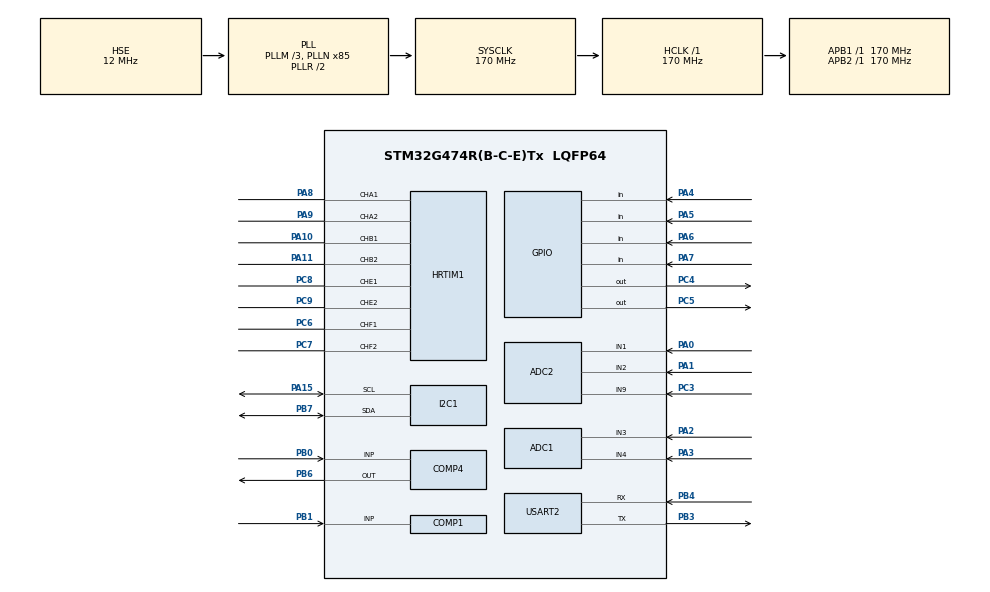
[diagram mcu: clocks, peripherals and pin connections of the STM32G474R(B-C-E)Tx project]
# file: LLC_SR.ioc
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ADC1.Channel-0\#ChannelRegularConversion=ADC_CHANNEL_3
ADC1.NbrOfConversionFlag=1
ADC1.OffsetNumber-0\#ChannelRegularConversion=ADC_OFFSET_NONE
ADC1.Rank-0\#ChannelRegularConversion=1
ADC1.SamplingTime-0\#ChannelRegularConversion=ADC_SAMPLETIME_2CYCLES_5
ADC1.master=1
ADC2.Channel-0\#ChannelRegularConversion=ADC_CHANNEL_1
ADC2.Channel-1\#ChannelRegularConversion=ADC_CHANNEL_2
ADC2.Channel-2\#ChannelRegularConversion=ADC_CHANNEL_9
ADC2.ContinuousConvMode=ENABLE
ADC2.DMAContinuousRequests=ENABLE
ADC2.EOCSelection=ADC_EOC_SEQ_CONV
ADC2.NbrOfConversion=3
ADC2.NbrOfConversionFlag=1
ADC2.OffsetNumber-0\#ChannelRegularConversion=ADC_OFFSET_NONE
ADC2.OffsetNumber-1\#ChannelRegularConversion=ADC_OFFSET_NONE
ADC2.OffsetNumber-2\#ChannelRegularConversion=ADC_OFFSET_NONE
ADC2.Overrun=ADC_OVR_DATA_OVERWRITTEN
ADC2.Rank-0\#ChannelRegularConversion=1
ADC2.Rank-1\#ChannelRegularConversion=2
ADC2.Rank-2\#ChannelRegularConversion=3
ADC2.SamplingTime-0\#ChannelRegularConversion=ADC_SAMPLETIME_12CYCLES_5
ADC2.SamplingTime-1\#ChannelRegularConversion=ADC_SAMPLETIME_12CYCLES_5
ADC2.SamplingTime-2\#ChannelRegularConversion=ADC_SAMPLETIME_12CYCLES_5
COMP1.Hysteresis=COMP_HYSTERESIS_10MV
COMP1.TriggerMode=COMP_TRIGGERMODE_NONE
DAC3.DAC_Channel-DAC_OUT2_Int=DAC_CHANNEL_2
DAC3.DAC_SignedFormat-DAC_OUT1_Int=DISABLE
Dma.ADC2.1.Direction=DMA_PERIPH_TO_MEMORY
Dma.ADC2.1.EventEnable=DISABLE
Dma.ADC2.1.Instance=DMA1_Channel2
Dma.ADC2.1.MemDataAlignment=DMA_MDATAALIGN_HALFWORD
Dma.ADC2.1.MemInc=DMA_MINC_ENABLE
Dma.ADC2.1.Mode=DMA_CIRCULAR
Dma.ADC2.1.PeriphDataAlignment=DMA_PDATAALIGN_HALFWORD
Dma.ADC2.1.PeriphInc=DMA_PINC_DISABLE
Dma.ADC2.1.Polarity=HAL_DMAMUX_REQ_GEN_RISING
Dma.ADC2.1.Priority=DMA_PRIORITY_HIGH
Dma.ADC2.1.RequestNumber=1
Dma.ADC2.1.SignalID=NONE
Dma.ADC2.1.SyncEnable=DISABLE
Dma.ADC2.1.SyncPolarity=HAL_DMAMUX_SYNC_NO_EVENT
Dma.ADC2.1.SyncRequestNumber=1
Dma.ADC2.1.SyncSignalID=NONE
Dma.Request0=USART2_TX
Dma.Request1=ADC2
Dma.USART2_TX.0.Direction=DMA_MEMORY_TO_PERIPH
Dma.USART2_TX.0.EventEnable=DISABLE
Dma.USART2_TX.0.Instance=DMA1_Channel1
Dma.USART2_TX.0.MemDataAlignment=DMA_MDATAALIGN_BYTE
Dma.USART2_TX.0.MemInc=DMA_MINC_ENABLE
Dma.USART2_TX.0.Mode=DMA_NORMAL
Dma.USART2_TX.0.PeriphDataAlignment=DMA_PDATAALIGN_BYTE
Dma.USART2_TX.0.PeriphInc=DMA_PINC_DISABLE
Dma.USART2_TX.0.Polarity=HAL_DMAMUX_REQ_GEN_RISING
Dma.USART2_TX.0.Priority=DMA_PRIORITY_LOW
Dma.USART2_TX.0.RequestNumber=1
Dma.USART2_TX.0.SignalID=NONE
Dma.USART2_TX.0.SyncEnable=DISABLE
Dma.USART2_TX.0.SyncPolarity=HAL_DMAMUX_SYNC_NO_EVENT
Dma.USART2_TX.0.SyncRequestNumber=1
Dma.USART2_TX.0.SyncSignalID=NONE
HRTIM1.CompareUnit1-MasterTimer=__NULL
HRTIM1.CompareUnit1-Output_TA1TA2=HRTIM_COMPAREUNIT_1
HRTIM1.CompareUnit1-Output_TB1TB2=HRTIM_COMPAREUNIT_1
HRTIM1.CompareUnit1-Output_TE1TE2=HRTIM_COMPAREUNIT_1
HRTIM1.CompareUnit1-Output_TF1TF2=HRTIM_COMPAREUNIT_1
HRTIM1.CompareUnit2-Output_TA1TA2=HRTIM_COMPAREUNIT_2
HRTIM1.CompareUnit2-Output_TB1TB2=HRTIM_COMPAREUNIT_2
HRTIM1.CompareUnit2-Output_TE1TE2=HRTIM_COMPAREUNIT_2
HRTIM1.CompareUnit2-Output_TF1TF2=HRTIM_COMPAREUNIT_2
HRTIM1.CompareValue1-Output_TA1TA2=10000
HRTIM1.CompareValue1-Output_TB1TB2=10000
HRTIM1.CompareValue1-Output_TE1TE2=10000
HRTIM1.CompareValue1-Output_TF1TF2=10000
HRTIM1.CompareValue2-Output_TA1TA2=20000
HRTIM1.CompareValue2-Output_TB1TB2=20000
HRTIM1.CompareValue2-Output_TE1TE2=20000
HRTIM1.CompareValue2-Output_TF1TF2=20000
HRTIM1.DeadTimeInsertion-Output_TA1TA2=HRTIM_TIMDEADTIMEINSERTION_ENABLED
HRTIM1.DeadTimeInsertion-Output_TB1TB2=HRTIM_TIMDEADTIMEINSERTION_ENABLED
HRTIM1.DeadTimeInsertion-Output_TE1TE2=HRTIM_TIMDEADTIMEINSERTION_ENABLED
HRTIM1.DeadTimeInsertion-Output_TF1TF2=HRTIM_TIMDEADTIMEINSERTION_ENABLED
HRTIM1.Event_EEV1=__NULL
HRTIM1.Event_EEV2=HRTIM_EVENT_2
HRTIM1.Event_EEV3=__NULL
HRTIM1.Event_EEV4=__NULL
HRTIM1.FallingValue-Output_TA1TA2=50
HRTIM1.FallingValue-Output_TB1TB2=50
HRTIM1.FallingValue-Output_TE1TE2=50
HRTIM1.FallingValue-Output_TF1TF2=50
HRTIM1.ModeTimeBase-MasterTimer=HRTIM_MODE_CONTINUOUS
HRTIM1.NumberResetSource1-Output_TA1TA2=1
HRTIM1.NumberResetSource1-Output_TB1TB2=1
HRTIM1.NumberResetSource1-Output_TE1TE2=1
HRTIM1.NumberResetSource1-Output_TF1TF2=1
HRTIM1.NumberResetTrigger-Output_TA1TA2=1
HRTIM1.NumberResetTrigger-Output_TB1TB2=1
HRTIM1.NumberResetTrigger-Output_TE1TE2=1
HRTIM1.NumberResetTrigger-Output_TF1TF2=1
HRTIM1.NumberSetSource1-Output_TA1TA2=1
HRTIM1.NumberSetSource1-Output_TB1TB2=1
HRTIM1.NumberSetSource1-Output_TE1TE2=1
HRTIM1.NumberSetSource1-Output_TF1TF2=1
HRTIM1.Periode_MASTER=54400
HRTIM1.Periode_TA=54400
HRTIM1.Periode_TB=54400
HRTIM1.Periode_TE=54400
HRTIM1.Periode_TF=54400
HRTIM1.PreloadEnable-MasterTimer=HRTIM_PRELOAD_ENABLED
HRTIM1.PreloadEnable-Output_TA1TA2=HRTIM_PRELOAD_ENABLED
HRTIM1.PreloadEnable-Output_TB1TB2=HRTIM_PRELOAD_ENABLED
HRTIM1.PreloadEnable-Output_TE1TE2=HRTIM_PRELOAD_ENABLED
HRTIM1.PreloadEnable-Output_TF1TF2=HRTIM_PRELOAD_ENABLED
HRTIM1.RepetitionUpdate-MasterTimer=HRTIM_UPDATEONREPETITION_ENABLED
HRTIM1.RepetitionUpdate-Output_TA1TA2=HRTIM_UPDATEONREPETITION_ENABLED
HRTIM1.RepetitionUpdate-Output_TB1TB2=HRTIM_UPDATEONREPETITION_ENABLED
HRTIM1.RepetitionUpdate-Output_TE1TE2=HRTIM_UPDATEONREPETITION_ENABLED
HRTIM1.RepetitionUpdate-Output_TF1TF2=HRTIM_UPDATEONREPETITION_ENABLED
HRTIM1.ResetOutput1_Source1-Output_TA1TA2=HRTIM_OUTPUTRESET_TIMCMP2
HRTIM1.ResetOutput1_Source1-Output_TB1TB2=HRTIM_OUTPUTRESET_TIMCMP1
HRTIM1.ResetOutput1_Source1-Output_TE1TE2=HRTIM_OUTPUTRESET_TIMCMP2
HRTIM1.ResetOutput1_Source1-Output_TF1TF2=HRTIM_OUTPUTRESET_TIMCMP2
HRTIM1.ResetTrigger1-Output_TA1TA2=HRTIM_TIMRESETTRIGGER_MASTER_PER
HRTIM1.ResetTrigger1-Output_TB1TB2=HRTIM_TIMRESETTRIGGER_MASTER_PER
HRTIM1.ResetTrigger1-Output_TE1TE2=HRTIM_TIMRESETTRIGGER_MASTER_PER
HRTIM1.ResetTrigger1-Output_TF1TF2=HRTIM_TIMRESETTRIGGER_MASTER_PER
HRTIM1.RisingValue-Output_TA1TA2=50
HRTIM1.RisingValue-Output_TB1TB2=50
HRTIM1.RisingValue-Output_TE1TE2=50
HRTIM1.RisingValue-Output_TF1TF2=50
HRTIM1.SetOutput1_Source1-Output_TA1TA2=HRTIM_OUTPUTSET_TIMCMP1
HRTIM1.SetOutput1_Source1-Output_TB1TB2=HRTIM_OUTPUTSET_TIMCMP2
HRTIM1.SetOutput1_Source1-Output_TE1TE2=HRTIM_OUTPUTSET_TIMCMP1
HRTIM1.SetOutput1_Source1-Output_TF1TF2=HRTIM_OUTPUTSET_TIMCMP1
I2C1.Timing=0x30A0A7FB
Mcu.Family=STM32G4
Mcu.Name=STM32G474R(B-C-E)Tx
Mcu.Package=LQFP64
NVIC.DMA1_Channel1_IRQn=true\:0\:0\:false\:false\:true\:false\:true\:true
NVIC.DMA1_Channel2_IRQn=true\:0\:0\:false\:false\:true\:false\:true\:true
NVIC.PriorityGroup=NVIC_PRIORITYGROUP_4
NVIC.TIM2_IRQn=true\:0\:0\:false\:false\:true\:true\:true\:true
NVIC.USART2_IRQn=true\:0\:0\:false\:false\:true\:true\:true\:true
PA0.Mode=IN1-Single-Ended
PA0.Signal=ADC2_IN1
PA1.Mode=IN2-Single-Ended
PA1.Signal=ADC2_IN2
PA10.Mode=Output_TB1TB2
PA10.Signal=HRTIM1_CHB1
PA11.Mode=Output_TB1TB2
PA11.Signal=HRTIM1_CHB2
PA13.Mode=Serial_Wire
PA13.Signal=SYS_JTMS-SWDIO
PA14.Mode=Serial_Wire
PA14.Signal=SYS_JTCK-SWCLK
PA15.Mode=I2C
PA15.Signal=I2C1_SCL
PA2.Mode=IN3-Single-Ended
PA2.Signal=ADC1_IN3
PA3.Mode=IN4-Single-Ended
PA3.Signal=ADC1_IN4
PA4.Signal=GPIO_Input
PA5.Signal=GPIO_Input
PA6.Signal=GPIO_Input
PA7.Signal=GPIO_Input
PA8.Mode=Output_TA1TA2
PA8.Signal=HRTIM1_CHA1
PA9.Mode=Output_TA1TA2
PA9.Signal=HRTIM1_CHA2
PB0.Mode=INP
PB0.Signal=COMP4_INP
PB1.Mode=INP
PB1.Signal=COMP1_INP
PB3.Mode=Asynchronous
PB3.Signal=USART2_TX
PB4.Mode=Asynchronous
PB4.Signal=USART2_RX
PB6.Mode=ExternalOutput
PB6.Signal=COMP4_OUT
PB7.Mode=I2C
PB7.Signal=I2C1_SDA
PC3.Mode=IN9-Single-Ended
PC3.Signal=ADC2_IN9
PC4.Signal=GPIO_Output
PC5.Signal=GPIO_Output
PC6.Mode=Output_TF1TF2
PC6.Signal=HRTIM1_CHF1
PC7.Mode=Output_TF1TF2
PC7.Signal=HRTIM1_CHF2
PC8.Mode=Output_TE1TE2
PC8.Signal=HRTIM1_CHE1
PC9.Mode=Output_TE1TE2
PC9.Signal=HRTIM1_CHE2
PF0-OSC_IN.Mode=HSE-External-Oscillator
PF0-OSC_IN.Signal=RCC_OSC_IN
PF1-OSC_OUT.Mode=HSE-External-Oscillator
PF1-OSC_OUT.Signal=RCC_OSC_OUT
ProjectManager.HeapSize=0x200
ProjectManager.StackSize=0x400
ProjectManager.TargetToolchain=MDK-ARM V5.32
RCC.ADC12Freq_Value=170000000
RCC.ADC345Freq_Value=170000000
RCC.AHBFreq_Value=170000000
RCC.APB1Freq_Value=170000000
RCC.APB1TimFreq_Value=170000000
RCC.APB2Freq_Value=170000000
RCC.APB2TimFreq_Value=170000000
RCC.CortexFreq_Value=170000000
RCC.EXTERNAL_CLOCK_VALUE=12288000
RCC.HCLKFreq_Value=170000000
RCC.HSE_VALUE=12000000
RCC.HSI48_VALUE=48000000
RCC.HSI_VALUE=16000000
RCC.LSE_VALUE=32768
RCC.PLLM=RCC_PLLM_DIV3
RCC.PLLN=85
RCC.PLLSourceVirtual=RCC_PLLSOURCE_HSE
RCC.SYSCLKFreq_VALUE=170000000
RCC.SYSCLKSource=RCC_SYSCLKSOURCE_PLLCLK
RCC.USBFreq_Value=170000000
RCC.VCOOutputFreq_Value=340000000
TIM2.AutoReloadPreload=TIM_AUTORELOAD_PRELOAD_DISABLE
TIM2.PeriodNoDither=1700-1
TIM2.Prescaler=500-1
USART2.VirtualMode-Asynchronous=VM_ASYNC
VP_COMP1_VS_DAC3OUT1.Mode=INM_DAC3OUT1
VP_COMP4_VS_DAC3OUT2.Mode=INM_DAC3OUT2
VP_DAC3_VS_DACI1.Mode=DAC_OUT1_Int
VP_DAC3_VS_DACI2.Mode=DAC_OUT2_Int
VP_HRTIM1_VS_hrtimMasterTimerNoOutput.Mode=MasterTimer
VP_SYS_VS_DBSignals.Mode=DisableDeadBatterySignals
VP_TIM2_VS_ClockSourceINT.Mode=Internal
board=custom

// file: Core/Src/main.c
/* USER CODE BEGIN Header */
/**
  ******************************************************************************
  * @file           : main.c
  * @brief          : Main program body
  ******************************************************************************
  * @attention
  *
  * Copyright (c) 2023 STMicroelectronics.
  * All rights reserved.
  *
  * This software is licensed under terms that can be found in the LICENSE file
  * in the root directory of this software component.
  * If no LICENSE file comes with this software, it is provided AS-IS.
  *
  ******************************************************************************
  */
/* USER CODE END Header */
#include "main.h"
#include "adc.h"
#include "comp.h"
#include "dac.h"
#include "dma.h"
#include "hrtim.h"
#include "i2c.h"
#include "tim.h"
#include "usart.h"
#include "gpio.h"

/* USER CODE BEGIN Includes */

#include "oled.h"
#include "key.h"

/* USER CODE END Includes */

/* USER CODE BEGIN PV */
uint16_t ADC_ConvertedValue[3] = {0,0,0};
int oledFlag=0;
/* USER CODE END PV */

void SystemClock_Config(void);

int main(void)
{

  /* MCU Configuration--------------------------------------------------------*/

  /* Reset of all peripherals, Initializes the Flash interface and the Systick. */
  HAL_Init();

  /* Configure the system clock */
  SystemClock_Config();

  /* Initialize all configured peripherals */
  MX_GPIO_Init();
  MX_DMA_Init();
  MX_ADC1_Init();
  MX_ADC2_Init();
  MX_HRTIM1_Init();
  MX_I2C1_Init();
  MX_TIM2_Init();
  MX_USART2_UART_Init();
  MX_COMP1_Init();
  MX_COMP4_Init();
  MX_DAC3_Init();
  /* USER CODE BEGIN 2 */
	OLED_Init();
	OLED_CLS();
	//Draw_Logo1();
	OLED_ON();

	KEY_Init();

	signal_init();

	HAL_HRTIM_WaveformCounterStart(&hhrtim1, HRTIM_TIMERID_MASTER|HRTIM_TIMERID_TIMER_A|HRTIM_TIMERID_TIMER_B|HRTIM_TIMERID_TIMER_E|HRTIM_TIMERID_TIMER_F);
	HAL_HRTIM_WaveformOutputStart(&hhrtim1, HRTIM_OUTPUT_TA1 + HRTIM_OUTPUT_TA2);
	HAL_HRTIM_WaveformOutputStart(&hhrtim1, HRTIM_OUTPUT_TB1 + HRTIM_OUTPUT_TB2);
	HAL_HRTIM_WaveformOutputStart(&hhrtim1, HRTIM_OUTPUT_TE1 + HRTIM_OUTPUT_TE2);
	HAL_HRTIM_WaveformOutputStart(&hhrtim1, HRTIM_OUTPUT_TF1 + HRTIM_OUTPUT_TF2);

	HAL_ADCEx_Calibration_Start(&hadc2,ADC_SINGLE_ENDED);
	HAL_Delay(100);

	if(HAL_ADC_Start_DMA(&hadc2,(uint32_t *)&ADC_ConvertedValue,3) != HAL_OK)
	{
		Error_Handler();
	}

	HAL_TIM_Base_Start_IT(&htim2); //200Hz

  /* USER CODE END 2 */

  /* Infinite loop */
  while (1)
  {

    /* USER CODE BEGIN 3 */
		HAL_Delay(300);
		OLED_SHOW();
  }
  /* USER CODE END 3 */
}

void SystemClock_Config(void)
{
  RCC_OscInitTypeDef RCC_OscInitStruct = {0};
  RCC_ClkInitTypeDef RCC_ClkInitStruct = {0};

  /** Configure the main internal regulator output voltage
  */
  HAL_PWREx_ControlVoltageScaling(PWR_REGULATOR_VOLTAGE_SCALE1_BOOST);

  /** Initializes the RCC Oscillators according to the specified parameters
  * in the RCC_OscInitTypeDef structure.
  */
  RCC_OscInitStruct.OscillatorType = RCC_OSCILLATORTYPE_HSE;
  RCC_OscInitStruct.HSEState = RCC_HSE_ON;
  RCC_OscInitStruct.PLL.PLLState = RCC_PLL_ON;
  RCC_OscInitStruct.PLL.PLLSource = RCC_PLLSOURCE_HSE;
  RCC_OscInitStruct.PLL.PLLM = RCC_PLLM_DIV3;
  RCC_OscInitStruct.PLL.PLLN = 85;
  RCC_OscInitStruct.PLL.PLLP = RCC_PLLP_DIV2;
  RCC_OscInitStruct.PLL.PLLQ = RCC_PLLQ_DIV2;
  RCC_OscInitStruct.PLL.PLLR = RCC_PLLR_DIV2;
  if (HAL_RCC_OscConfig(&RCC_OscInitStruct) != HAL_OK)
  {
    Error_Handler();
  }

  /** Initializes the CPU, AHB and APB buses clocks
  */
  RCC_ClkInitStruct.ClockType = RCC_CLOCKTYPE_HCLK|RCC_CLOCKTYPE_SYSCLK
                              |RCC_CLOCKTYPE_PCLK1|RCC_CLOCKTYPE_PCLK2;
  RCC_ClkInitStruct.SYSCLKSource = RCC_SYSCLKSOURCE_PLLCLK;
  RCC_ClkInitStruct.AHBCLKDivider = RCC_SYSCLK_DIV1;
  RCC_ClkInitStruct.APB1CLKDivider = RCC_HCLK_DIV1;
  RCC_ClkInitStruct.APB2CLKDivider = RCC_HCLK_DIV1;

  if (HAL_RCC_ClockConfig(&RCC_ClkInitStruct, FLASH_LATENCY_4) != HAL_OK)
  {
    Error_Handler();
  }
}

void Error_Handler(void)
{
  __disable_irq();
  while (1)
  {
  }
}
